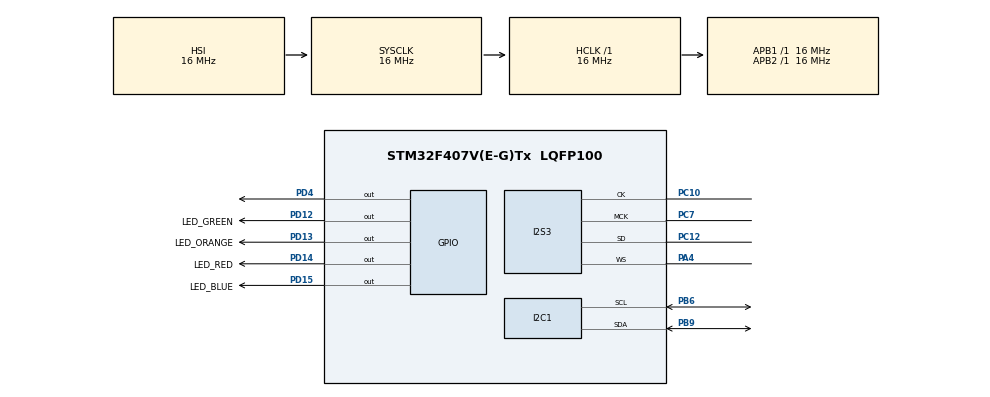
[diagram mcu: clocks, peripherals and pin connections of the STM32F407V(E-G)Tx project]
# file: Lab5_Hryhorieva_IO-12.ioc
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Dma.Request0=SPI3_TX
Dma.SPI3_TX.0.Direction=DMA_MEMORY_TO_PERIPH
Dma.SPI3_TX.0.FIFOMode=DMA_FIFOMODE_ENABLE
Dma.SPI3_TX.0.FIFOThreshold=DMA_FIFO_THRESHOLD_FULL
Dma.SPI3_TX.0.Instance=DMA1_Stream5
Dma.SPI3_TX.0.MemBurst=DMA_MBURST_SINGLE
Dma.SPI3_TX.0.MemDataAlignment=DMA_MDATAALIGN_HALFWORD
Dma.SPI3_TX.0.MemInc=DMA_MINC_ENABLE
Dma.SPI3_TX.0.Mode=DMA_CIRCULAR
Dma.SPI3_TX.0.PeriphBurst=DMA_PBURST_SINGLE
Dma.SPI3_TX.0.PeriphDataAlignment=DMA_PDATAALIGN_HALFWORD
Dma.SPI3_TX.0.PeriphInc=DMA_PINC_DISABLE
Dma.SPI3_TX.0.Priority=DMA_PRIORITY_LOW
I2S3.AudioFreq=I2S_AUDIOFREQ_48K
I2S3.ErrorAudioFreq=-2.34 %
I2S3.FullDuplexMode=I2S_FULLDUPLEXMODE_DISABLE
I2S3.Instance=SPI$Index
I2S3.RealAudioFreq=46.875 KHz
I2S3.VirtualMode=I2S_MODE_MASTER
Mcu.Family=STM32F4
Mcu.Name=STM32F407V(E-G)Tx
Mcu.Package=LQFP100
NVIC.DMA1_Stream5_IRQn=true\:0\:0\:false\:false\:true\:false\:true\:true
NVIC.PriorityGroup=NVIC_PRIORITYGROUP_4
PA4.Mode=Half_Duplex_Master
PA4.Signal=I2S3_WS
PB6.Mode=I2C
PB6.Signal=I2C1_SCL
PB9.Mode=I2C
PB9.Signal=I2C1_SDA
PC10.Mode=Half_Duplex_Master
PC10.Signal=I2S3_CK
PC12.Mode=Half_Duplex_Master
PC12.Signal=I2S3_SD
PC7.Mode=Master_Clock_Activated
PC7.Signal=I2S3_MCK
PD12.GPIO_Label=LED_GREEN
PD12.Signal=GPIO_Output
PD13.GPIO_Label=LED_ORANGE
PD13.Signal=GPIO_Output
PD14.GPIO_Label=LED_RED
PD14.Signal=GPIO_Output
PD15.GPIO_Label=LED_BLUE
PD15.Signal=GPIO_Output
PD4.Signal=GPIO_Output
ProjectManager.HeapSize=0x200
ProjectManager.StackSize=0x400
ProjectManager.TargetToolchain=STM32CubeIDE
RCC.AHBFreq_Value=16000000
RCC.APB1Freq_Value=16000000
RCC.APB2Freq_Value=16000000
RCC.CortexFreq_Value=16000000
RCC.HSE_VALUE=25000000
RCC.HSI_VALUE=16000000
RCC.LSE_VALUE=32768
RCC.SYSCLKFreq_VALUE=16000000
RCC.VCOOutputFreq_Value=192000000
board=custom

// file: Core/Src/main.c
/* USER CODE BEGIN Header */
/**
  ******************************************************************************
  * @file           : main.c
  * @brief          : Main program body
  ******************************************************************************
  * @attention
  *
  * Copyright (c) 2024 STMicroelectronics.
  * All rights reserved.
  *
  * This software is licensed under terms that can be found in the LICENSE file
  * in the root directory of this software component.
  * If no LICENSE file comes with this software, it is provided AS-IS.
  *
  ******************************************************************************
  */
/* USER CODE END Header */
#include "main.h"

/* USER CODE BEGIN PTD */

typedef enum
{
	C4,
	C5,
	D5,
	E5,
	F5,
	G5,
	A5,
	B5,
	C6,
	D6,
	E6,
	F6,
	G6,
	A6,
	B6,
	C7
} soundToneType;

/* USER CODE END PTD */

/* USER CODE BEGIN PD */

#define CS43L22_I2C_ADDRESS		0x94
#define I2C_TIMEOUT				10

/* USER CODE END PD */

I2C_HandleTypeDef hi2c1;

I2S_HandleTypeDef hi2s3;
DMA_HandleTypeDef hdma_spi3_tx;

/* USER CODE BEGIN PV */

int16_t dataI2S[100] = {0};

/* USER CODE END PV */

void SystemClock_Config(void);
static void MX_GPIO_Init(void);
static void MX_DMA_Init(void);
static void MX_I2C1_Init(void);
static void MX_I2S3_Init(void);

/* USER CODE BEGIN 0 */

void CS43L22_Init(void)
{
	// Enable chip
	HAL_GPIO_WritePin(GPIOD, GPIO_PIN_4, GPIO_PIN_SET);

	//
	// Initialization
	//
	uint8_t TxBuffer[2];

	TxBuffer[0] = 0x0D;
	TxBuffer[1] = 0x01;
	HAL_I2C_Master_Transmit(&hi2c1, CS43L22_I2C_ADDRESS, (uint8_t*) &TxBuffer, 2, I2C_TIMEOUT);

	TxBuffer[0] = 0x00;
	TxBuffer[1] = 0x99;
	HAL_I2C_Master_Transmit(&hi2c1, CS43L22_I2C_ADDRESS, (uint8_t*) &TxBuffer, 2, I2C_TIMEOUT);

	TxBuffer[0] = 0x47;
	TxBuffer[1] = 0x80;
	HAL_I2C_Master_Transmit(&hi2c1, CS43L22_I2C_ADDRESS, (uint8_t*) &TxBuffer, 2, I2C_TIMEOUT);

	TxBuffer[0] = 0x32;
	TxBuffer[1] = 0xFF;
	HAL_I2C_Master_Transmit(&hi2c1, CS43L22_I2C_ADDRESS, (uint8_t*) &TxBuffer, 2, I2C_TIMEOUT);

	TxBuffer[0] = 0x32;
	TxBuffer[1] = 0x7F;
	HAL_I2C_Master_Transmit(&hi2c1, CS43L22_I2C_ADDRESS, (uint8_t*) &TxBuffer, 2, I2C_TIMEOUT);

	TxBuffer[0] = 0x00;
	TxBuffer[1] = 0x00;
	HAL_I2C_Master_Transmit(&hi2c1, CS43L22_I2C_ADDRESS, (uint8_t*) &TxBuffer, 2, I2C_TIMEOUT);

	TxBuffer[0] = 0x04;
	TxBuffer[1] = 0xAF;
	HAL_I2C_Master_Transmit(&hi2c1, CS43L22_I2C_ADDRESS, (uint8_t*) &TxBuffer, 2, I2C_TIMEOUT);

	TxBuffer[0] = 0x0D;
	TxBuffer[1] = 0x70;
	HAL_I2C_Master_Transmit(&hi2c1, CS43L22_I2C_ADDRESS, (uint8_t*) &TxBuffer, 2, I2C_TIMEOUT);

	TxBuffer[0] = 0x05;
	TxBuffer[1] = 0x81;
	HAL_I2C_Master_Transmit(&hi2c1, CS43L22_I2C_ADDRESS, (uint8_t*) &TxBuffer, 2, I2C_TIMEOUT);

	TxBuffer[0] = 0x06;
	TxBuffer[1] = 0x07;
	HAL_I2C_Master_Transmit(&hi2c1, CS43L22_I2C_ADDRESS, (uint8_t*) &TxBuffer, 2, I2C_TIMEOUT);

	TxBuffer[0] = 0x0A;
	TxBuffer[1] = 0x00;
	HAL_I2C_Master_Transmit(&hi2c1, CS43L22_I2C_ADDRESS, (uint8_t*) &TxBuffer, 2, I2C_TIMEOUT);

	TxBuffer[0] = 0x27;
	TxBuffer[1] = 0x00;
	HAL_I2C_Master_Transmit(&hi2c1, CS43L22_I2C_ADDRESS, (uint8_t*) &TxBuffer, 2, I2C_TIMEOUT);

	TxBuffer[0] = 0x1A;
	TxBuffer[1] = 0x0A;
	HAL_I2C_Master_Transmit(&hi2c1, CS43L22_I2C_ADDRESS, (uint8_t*) &TxBuffer, 2, I2C_TIMEOUT);

	TxBuffer[0] = 0x1B;
	TxBuffer[1] = 0x0A;
	HAL_I2C_Master_Transmit(&hi2c1, CS43L22_I2C_ADDRESS, (uint8_t*) &TxBuffer, 2, I2C_TIMEOUT);

	TxBuffer[0] = 0x1F;
	TxBuffer[1] = 0x0F;
	HAL_I2C_Master_Transmit(&hi2c1, CS43L22_I2C_ADDRESS, (uint8_t*) &TxBuffer, 2, I2C_TIMEOUT);

	TxBuffer[0] = 0x02;
	TxBuffer[1] = 0x9E;
	HAL_I2C_Master_Transmit(&hi2c1, CS43L22_I2C_ADDRESS, (uint8_t*) &TxBuffer, 2, I2C_TIMEOUT);
}

void CS43L22_Beep(soundToneType pitch, uint32_t duration_ms)
{
	uint8_t TxBuffer[2];

	// Set volume and off time
	TxBuffer[0] = 0x1D;		// Register address
	TxBuffer[1] = 0x00;		// Value (volume and off time)
	HAL_I2C_Master_Transmit(&hi2c1, CS43L22_I2C_ADDRESS, (uint8_t*) &TxBuffer, 2, I2C_TIMEOUT);

	// Set sound frequency
	TxBuffer[0] = 0x1C;		// Register address
	switch (pitch)
	{
		case C4:
			TxBuffer[1] = 0x00;		// Value (frequency and on time)
			break;
		case C5:
			TxBuffer[1] = 0x10;		// Value (frequency and on time)
			break;
		case D5:
			TxBuffer[1] = 0x20;		// Value (frequency and on time)
			break;
		case E5:
			TxBuffer[1] = 0x30;		// Value (frequency and on time)
			break;
		case F5:
			TxBuffer[1] = 0x40;		// Value (frequency and on time)
			break;
		case G5:
			TxBuffer[1] = 0x50;		// Value (frequency and on time)
			break;
		case A5:
			TxBuffer[1] = 0x60;		// Value (frequency and on time)
			break;
		case B5:
			TxBuffer[1] = 0x70;		// Value (frequency and on time)
			break;
		case C6:
			TxBuffer[1] = 0x80;		// Value (frequency and on time)
			break;
		case D6:
			TxBuffer[1] = 0x90;		// Value (frequency and on time)
			break;
		case E6:
			TxBuffer[1] = 0xA0;		// Value (frequency and on time)
			break;
		case F6:
			TxBuffer[1] = 0xB0;		// Value (frequency and on time)
			break;
		case G6:
			TxBuffer[1] = 0xC0;		// Value (frequency and on time)
			break;
		case A6:
			TxBuffer[1] = 0xD0;		// Value (frequency and on time)
			break;
		case B6:
			TxBuffer[1] = 0xE0;		// Value (frequency and on time)
			break;
		case C7:
			TxBuffer[1] = 0xF0;		// Value (frequency and on time)
			break;

		default:
			TxBuffer[1] = 0x00;		// Value (frequency and on time)
			break;
	}
	HAL_I2C_Master_Transmit(&hi2c1, CS43L22_I2C_ADDRESS, (uint8_t*) &TxBuffer, 2, I2C_TIMEOUT);

	// Enable continuous mode (SOUND STARTED)
	TxBuffer[0] = 0x1E;		// Register address
	TxBuffer[1] = 0xC0;		// Value (beep and tone configuration)
	HAL_I2C_Master_Transmit(&hi2c1, CS43L22_I2C_ADDRESS, (uint8_t*) &TxBuffer, 2, I2C_TIMEOUT);

	// Playing...
	HAL_Delay(duration_ms);

	// Disable continuous mode (SOUND STOPED)
	TxBuffer[0] = 0x1E;		// Register address
	TxBuffer[1] = 0x00;		// Value (beep and tone configuration)
	HAL_I2C_Master_Transmit(&hi2c1, CS43L22_I2C_ADDRESS, (uint8_t*) &TxBuffer, 2, I2C_TIMEOUT);
}

/* USER CODE END 0 */

int main(void)
{

  /* MCU Configuration--------------------------------------------------------*/

  /* Reset of all peripherals, Initializes the Flash interface and the Systick. */
  HAL_Init();

  /* Configure the system clock */
  SystemClock_Config();

  /* Initialize all configured peripherals */
  MX_GPIO_Init();
  MX_DMA_Init();
  MX_I2C1_Init();
  MX_I2S3_Init();
  /* USER CODE BEGIN 2 */

  // Init DAC
  CS43L22_Init();

  // Transmit empty data
  HAL_I2S_Transmit_DMA(&hi2s3, (uint16_t *)dataI2S, 100);

  /* USER CODE END 2 */

  /* Infinite loop */
  /* USER CODE BEGIN WHILE */
  const uint16_t melody[] = { E5, G5, A5, F5, E5, G5, A5, F5, D5, E5, B5, A5, G5, F5, G5, E5 };
  const uint32_t noteDurations[] = { 300, 300, 600, 300, 300, 300, 600, 300, 300, 300, 600, 300, 300, 300, 300, 600 };
  const int melodyLength = sizeof(melody) / sizeof(melody[0]);

  while (1)
  {
	    // Play the Harry Potter theme 3 times
	    for (int i = 0; i < 3; i++) {
	        for (int index = 0; index < melodyLength; index++) {
	            uint16_t freq = melody[index];
	            uint32_t duration = noteDurations[index];

	            // Turn on specific LEDs based on the note
	            switch (freq) {
	                case E5:
	                case F5:
	                    HAL_GPIO_WritePin(LED_GREEN_GPIO_Port, LED_GREEN_Pin, GPIO_PIN_SET);
	                    break;
	                case G5:
	                case A5:
	                    HAL_GPIO_WritePin(LED_ORANGE_GPIO_Port, LED_ORANGE_Pin, GPIO_PIN_SET);
	                    break;
	                case B5:
	                case C6:
	                    HAL_GPIO_WritePin(LED_RED_GPIO_Port, LED_RED_Pin, GPIO_PIN_SET);
	                    break;
	                case D5:
	                case E6:
	                    HAL_GPIO_WritePin(LED_BLUE_GPIO_Port, LED_BLUE_Pin, GPIO_PIN_SET);
	                    break;
	                default:
	                    // For other notes, turn on a combination of LEDs
	                    HAL_GPIO_WritePin(LED_GREEN_GPIO_Port, LED_GREEN_Pin, GPIO_PIN_SET);
	                    HAL_GPIO_WritePin(LED_RED_GPIO_Port, LED_RED_Pin, GPIO_PIN_SET);
	                    break;
	            }

	            CS43L22_Beep(freq, duration);
	            HAL_Delay(50);  // Add a short delay between notes

                // Turn off all LEDs after each note
                HAL_GPIO_WritePin(LED_GREEN_GPIO_Port, LED_GREEN_Pin, GPIO_PIN_RESET);
                HAL_GPIO_WritePin(LED_ORANGE_GPIO_Port, LED_ORANGE_Pin, GPIO_PIN_RESET);
                HAL_GPIO_WritePin(LED_RED_GPIO_Port, LED_RED_Pin, GPIO_PIN_RESET);
                HAL_GPIO_WritePin(LED_BLUE_GPIO_Port, LED_BLUE_Pin, GPIO_PIN_RESET);
	        }
	    }
	    return 0;

    /* USER CODE END WHILE */

  }
}

void SystemClock_Config(void)
{
  RCC_OscInitTypeDef RCC_OscInitStruct = {0};
  RCC_ClkInitTypeDef RCC_ClkInitStruct = {0};

  /** Macro to configure the PLL multiplication factor
  */
  __HAL_RCC_PLL_PLLM_CONFIG(16);

  /** Macro to configure the PLL clock source
  */
  __HAL_RCC_PLL_PLLSOURCE_CONFIG(RCC_PLLSOURCE_HSI);

  /** Configure the main internal regulator output voltage
  */
  __HAL_RCC_PWR_CLK_ENABLE();
  __HAL_PWR_VOLTAGESCALING_CONFIG(PWR_REGULATOR_VOLTAGE_SCALE1);

  /** Initializes the RCC Oscillators according to the specified parameters
  * in the RCC_OscInitTypeDef structure.
  */
  RCC_OscInitStruct.OscillatorType = RCC_OSCILLATORTYPE_HSI;
  RCC_OscInitStruct.HSIState = RCC_HSI_ON;
  RCC_OscInitStruct.HSICalibrationValue = RCC_HSICALIBRATION_DEFAULT;
  RCC_OscInitStruct.PLL.PLLState = RCC_PLL_NONE;
  RCC_OscInitStruct.PLL.PLLSource = RCC_PLLSOURCE_HSI;
  if (HAL_RCC_OscConfig(&RCC_OscInitStruct) != HAL_OK)
  {
    Error_Handler();
  }

  /** Initializes the CPU, AHB and APB buses clocks
  */
  RCC_ClkInitStruct.ClockType = RCC_CLOCKTYPE_HCLK|RCC_CLOCKTYPE_SYSCLK
                              |RCC_CLOCKTYPE_PCLK1|RCC_CLOCKTYPE_PCLK2;
  RCC_ClkInitStruct.SYSCLKSource = RCC_SYSCLKSOURCE_HSI;
  RCC_ClkInitStruct.AHBCLKDivider = RCC_SYSCLK_DIV1;
  RCC_ClkInitStruct.APB1CLKDivider = RCC_HCLK_DIV1;
  RCC_ClkInitStruct.APB2CLKDivider = RCC_HCLK_DIV1;

  if (HAL_RCC_ClockConfig(&RCC_ClkInitStruct, FLASH_LATENCY_0) != HAL_OK)
  {
    Error_Handler();
  }
}

static void MX_I2C1_Init(void)
{

  hi2c1.Instance = I2C1;
  hi2c1.Init.ClockSpeed = 100000;
  hi2c1.Init.DutyCycle = I2C_DUTYCYCLE_2;
  hi2c1.Init.OwnAddress1 = 0;
  hi2c1.Init.AddressingMode = I2C_ADDRESSINGMODE_7BIT;
  hi2c1.Init.DualAddressMode = I2C_DUALADDRESS_DISABLE;
  hi2c1.Init.OwnAddress2 = 0;
  hi2c1.Init.GeneralCallMode = I2C_GENERALCALL_DISABLE;
  hi2c1.Init.NoStretchMode = I2C_NOSTRETCH_DISABLE;
  if (HAL_I2C_Init(&hi2c1) != HAL_OK)
  {
    Error_Handler();
  }

}

static void MX_I2S3_Init(void)
{

  hi2s3.Instance = SPI3;
  hi2s3.Init.Mode = I2S_MODE_MASTER_TX;
  hi2s3.Init.Standard = I2S_STANDARD_PHILIPS;
  hi2s3.Init.DataFormat = I2S_DATAFORMAT_16B;
  hi2s3.Init.MCLKOutput = I2S_MCLKOUTPUT_ENABLE;
  hi2s3.Init.AudioFreq = I2S_AUDIOFREQ_48K;
  hi2s3.Init.CPOL = I2S_CPOL_LOW;
  hi2s3.Init.ClockSource = I2S_CLOCK_PLL;
  hi2s3.Init.FullDuplexMode = I2S_FULLDUPLEXMODE_DISABLE;
  if (HAL_I2S_Init(&hi2s3) != HAL_OK)
  {
    Error_Handler();
  }

}

static void MX_DMA_Init(void)
{

  /* DMA controller clock enable */
  __HAL_RCC_DMA1_CLK_ENABLE();

  /* DMA interrupt init */
  /* DMA1_Stream5_IRQn interrupt configuration */
  HAL_NVIC_SetPriority(DMA1_Stream5_IRQn, 0, 0);
  HAL_NVIC_EnableIRQ(DMA1_Stream5_IRQn);

}

static void MX_GPIO_Init(void)
{
  GPIO_InitTypeDef GPIO_InitStruct = {0};

  /* GPIO Ports Clock Enable */
  __HAL_RCC_GPIOA_CLK_ENABLE();
  __HAL_RCC_GPIOD_CLK_ENABLE();
  __HAL_RCC_GPIOC_CLK_ENABLE();
  __HAL_RCC_GPIOB_CLK_ENABLE();

  /*Configure GPIO pin Output Level */
  HAL_GPIO_WritePin(GPIOD, LED_GREEN_Pin|LED_ORANGE_Pin|LED_RED_Pin|LED_BLUE_Pin
                          |GPIO_PIN_4, GPIO_PIN_RESET);

  /*Configure GPIO pins : LED_GREEN_Pin LED_ORANGE_Pin LED_RED_Pin LED_BLUE_Pin
                           PD4 */
  GPIO_InitStruct.Pin = LED_GREEN_Pin|LED_ORANGE_Pin|LED_RED_Pin|LED_BLUE_Pin
                          |GPIO_PIN_4;
  GPIO_InitStruct.Mode = GPIO_MODE_OUTPUT_PP;
  GPIO_InitStruct.Pull = GPIO_NOPULL;
  GPIO_InitStruct.Speed = GPIO_SPEED_FREQ_LOW;
  HAL_GPIO_Init(GPIOD, &GPIO_InitStruct);

}

void Error_Handler(void)
{
  __disable_irq();
  while (1)
  {
  }
}
